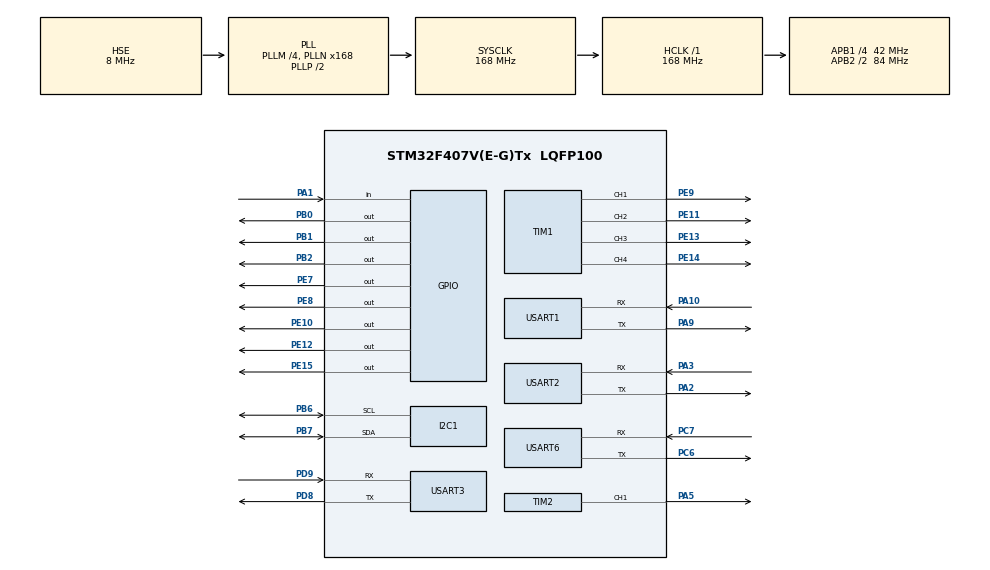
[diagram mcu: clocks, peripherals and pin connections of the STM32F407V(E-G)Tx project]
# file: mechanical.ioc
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FREERTOS.Tasks01=OLEDTask,24,128,StartOLEDTask,Default,NULL,Dynamic,NULL,NULL;queueTask,8,128,StartqueueTask,Default,NULL,Dynamic,NULL,NULL;MVTask,8,128,StartMVTask,Default,NULL,Dynamic,NULL,NULL
Mcu.Family=STM32F4
Mcu.Name=STM32F407V(E-G)Tx
Mcu.Package=LQFP100
NVIC.PriorityGroup=NVIC_PRIORITYGROUP_4
NVIC.TIM8_TRG_COM_TIM14_IRQn=true\:15\:0\:false\:false\:true\:false\:false\:true\:true
NVIC.TimeBase=TIM8_TRG_COM_TIM14_IRQn
NVIC.TimeBaseIP=TIM14
PA0-WKUP.Mode=SYS_WakeUp0
PA0-WKUP.Signal=SYS_WKUP
PA1.Signal=GPIO_Input
PA10.Mode=Asynchronous
PA10.Signal=USART1_RX
PA13.Mode=Serial_Wire
PA13.Signal=SYS_JTMS-SWDIO
PA14.Mode=Serial_Wire
PA14.Signal=SYS_JTCK-SWCLK
PA2.Mode=Asynchronous
PA2.Signal=USART2_TX
PA3.Mode=Asynchronous
PA3.Signal=USART2_RX
PA5.Signal=S_TIM2_CH1_ETR
PA9.Mode=Asynchronous
PA9.Signal=USART1_TX
PB0.Signal=GPIO_Output
PB1.Signal=GPIO_Output
PB2.Signal=GPIO_Output
PB6.GPIO_Pu=GPIO_PULLUP
PB6.Mode=I2C
PB6.Signal=I2C1_SCL
PB7.GPIO_Pu=GPIO_PULLUP
PB7.Mode=I2C
PB7.Signal=I2C1_SDA
PC6.Mode=Asynchronous
PC6.Signal=USART6_TX
PC7.Mode=Asynchronous
PC7.Signal=USART6_RX
PD8.Mode=Asynchronous
PD8.Signal=USART3_TX
PD9.Mode=Asynchronous
PD9.Signal=USART3_RX
PE10.Signal=GPIO_Output
PE11.Signal=S_TIM1_CH2
PE12.Signal=GPIO_Output
PE13.Signal=S_TIM1_CH3
PE14.Signal=S_TIM1_CH4
PE15.Signal=GPIO_Output
PE7.Signal=GPIO_Output
PE8.Signal=GPIO_Output
PE9.Signal=S_TIM1_CH1
PH0-OSC_IN.Mode=HSE-External-Oscillator
PH0-OSC_IN.Signal=RCC_OSC_IN
PH1-OSC_OUT.Mode=HSE-External-Oscillator
PH1-OSC_OUT.Signal=RCC_OSC_OUT
ProjectManager.HeapSize=0x200
ProjectManager.StackSize=0x400
ProjectManager.TargetToolchain=CMake
RCC.48MHZClocksFreq_Value=84000000
RCC.AHBFreq_Value=168000000
RCC.APB1CLKDivider=RCC_HCLK_DIV4
RCC.APB1Freq_Value=42000000
RCC.APB1TimFreq_Value=84000000
RCC.APB2CLKDivider=RCC_HCLK_DIV2
RCC.APB2Freq_Value=84000000
RCC.APB2TimFreq_Value=168000000
RCC.CortexFreq_Value=168000000
RCC.HCLKFreq_Value=168000000
RCC.HSE_VALUE=8000000
RCC.HSI_VALUE=16000000
RCC.LSE_VALUE=32768
RCC.PLLM=4
RCC.PLLN=168
RCC.PLLSourceVirtual=RCC_PLLSOURCE_HSE
RCC.SYSCLKFreq_VALUE=168000000
RCC.SYSCLKSource=RCC_SYSCLKSOURCE_PLLCLK
RCC.VCOOutputFreq_Value=336000000
SH.S_TIM1_CH1.0=TIM1_CH1,PWM Generation1 CH1
SH.S_TIM1_CH2.0=TIM1_CH2,PWM Generation2 CH2
SH.S_TIM1_CH3.0=TIM1_CH3,PWM Generation3 CH3
SH.S_TIM1_CH4.0=TIM1_CH4,PWM Generation4 CH4
SH.S_TIM2_CH1_ETR.0=TIM2_CH1,PWM Generation1 CH1
TIM1.Channel-PWM\ Generation1\ CH1=TIM_CHANNEL_1
TIM1.Channel-PWM\ Generation2\ CH2=TIM_CHANNEL_2
TIM1.Channel-PWM\ Generation3\ CH3=TIM_CHANNEL_3
TIM1.Channel-PWM\ Generation4\ CH4=TIM_CHANNEL_4
TIM2.Channel-PWM\ Generation1\ CH1=TIM_CHANNEL_1
USART1.VirtualMode=VM_ASYNC
USART2.VirtualMode=VM_ASYNC
USART3.VirtualMode=VM_ASYNC
USART6.VirtualMode=VM_ASYNC
VP_FREERTOS_VS_CMSIS_V2.Mode=CMSIS_V2
VP_SYS_VS_tim14.Mode=TIM14
VP_TIM1_VS_ClockSourceINT.Mode=Internal
board=custom

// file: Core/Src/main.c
/* USER CODE BEGIN Header */
/**
  ******************************************************************************
  * @file           : main.c
  * @brief          : Main program body
  ******************************************************************************
  * @attention
  *
  * Copyright (c) 2026 STMicroelectronics.
  * All rights reserved.
  *
  * This software is licensed under terms that can be found in the LICENSE file
  * in the root directory of this software component.
  * If no LICENSE file comes with this software, it is provided AS-IS.
  *
  ******************************************************************************
  */
/* USER CODE END Header */
#include "main.h"
#include "cmsis_os.h"
#include "i2c.h"
#include "tim.h"
#include "usart.h"
#include "gpio.h"

void SystemClock_Config(void);
void MX_FREERTOS_Init(void);

int main(void)
{

  /* MCU Configuration--------------------------------------------------------*/

  /* Reset of all peripherals, Initializes the Flash interface and the Systick. */
  HAL_Init();

  /* Configure the system clock */
  SystemClock_Config();

  /* Initialize all configured peripherals */
  MX_GPIO_Init();
  MX_I2C1_Init();
  MX_USART1_UART_Init();
  MX_TIM1_Init();
  MX_USART2_UART_Init();
  MX_USART3_UART_Init();
  MX_TIM2_Init();
  MX_USART6_UART_Init();

  /* Init scheduler */
  osKernelInitialize();  /* Call init function for freertos objects (in cmsis_os2.c) */
  MX_FREERTOS_Init();

  /* Start scheduler */
  osKernelStart();

  /* We should never get here as control is now taken by the scheduler */

  /* Infinite loop */
  while (1)
  {

  }
}

void SystemClock_Config(void)
{
  RCC_OscInitTypeDef RCC_OscInitStruct = {0};
  RCC_ClkInitTypeDef RCC_ClkInitStruct = {0};

  /** Configure the main internal regulator output voltage
  */
  __HAL_RCC_PWR_CLK_ENABLE();
  __HAL_PWR_VOLTAGESCALING_CONFIG(PWR_REGULATOR_VOLTAGE_SCALE1);

  /** Initializes the RCC Oscillators according to the specified parameters
  * in the RCC_OscInitTypeDef structure.
  */
  RCC_OscInitStruct.OscillatorType = RCC_OSCILLATORTYPE_HSE;
  RCC_OscInitStruct.HSEState = RCC_HSE_ON;
  RCC_OscInitStruct.PLL.PLLState = RCC_PLL_ON;
  RCC_OscInitStruct.PLL.PLLSource = RCC_PLLSOURCE_HSE;
  RCC_OscInitStruct.PLL.PLLM = 4;
  RCC_OscInitStruct.PLL.PLLN = 168;
  RCC_OscInitStruct.PLL.PLLP = RCC_PLLP_DIV2;
  RCC_OscInitStruct.PLL.PLLQ = 4;
  if (HAL_RCC_OscConfig(&RCC_OscInitStruct) != HAL_OK)
  {
    Error_Handler();
  }

  /** Initializes the CPU, AHB and APB buses clocks
  */
  RCC_ClkInitStruct.ClockType = RCC_CLOCKTYPE_HCLK|RCC_CLOCKTYPE_SYSCLK
                              |RCC_CLOCKTYPE_PCLK1|RCC_CLOCKTYPE_PCLK2;
  RCC_ClkInitStruct.SYSCLKSource = RCC_SYSCLKSOURCE_PLLCLK;
  RCC_ClkInitStruct.AHBCLKDivider = RCC_SYSCLK_DIV1;
  RCC_ClkInitStruct.APB1CLKDivider = RCC_HCLK_DIV4;
  RCC_ClkInitStruct.APB2CLKDivider = RCC_HCLK_DIV2;

  if (HAL_RCC_ClockConfig(&RCC_ClkInitStruct, FLASH_LATENCY_5) != HAL_OK)
  {
    Error_Handler();
  }
}

void HAL_TIM_PeriodElapsedCallback(TIM_HandleTypeDef *htim)
{
  if (htim->Instance == TIM14)
  {
    HAL_IncTick();
  }
}

void Error_Handler(void)
{
  __disable_irq();
  while (1)
  {
  }
}

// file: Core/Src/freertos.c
/* USER CODE BEGIN Header */
/**
  ******************************************************************************
  * File Name          : freertos.c
  * Description        : Code for freertos applications
  ******************************************************************************
  * @attention
  *
  * Copyright (c) 2026 STMicroelectronics.
  * All rights reserved.
  *
  * This software is licensed under terms that can be found in the LICENSE file
  * in the root directory of this software component.
  * If no LICENSE file comes with this software, it is provided AS-IS.
  *
  ******************************************************************************
  */
/* USER CODE END Header */

#include "FreeRTOS.h"
#include "task.h"
#include "main.h"
#include "cmsis_os.h"

/* USER CODE BEGIN Includes */
#include "oled.h"
#include "i2c.h"
#include "TB6612.h"
#include "Emm_V5.h"
#include "usart.h"
#include "tim.h"
#include "pipeline.h"
#include <string.h>
#include <stdio.h>
/* USER CODE END Includes */

/* USER CODE BEGIN PD */
/* 步进电机实例 (示例): 挂在 USART2 上, 总线地址 1 (拨码开关设定) */
Emm_V5_HandleTypeDef stepper1 = {
    .huart = &huart2,
    .addr  = 1,
};

/* TB6612 电机实例: AIN1=PE8, AIN2=PE10, PWM=TIM1_CH1 (PE9) */
TB6612_HandleTypeDef conveyor = {
    .AIN1_Port = GPIOE, .AIN1_Pin = GPIO_PIN_8,
    .AIN2_Port = GPIOE, .AIN2_Pin = GPIO_PIN_10,
    .htim      = &htim1,
    .Channel   = TIM_CHANNEL_1,
};
TB6612_HandleTypeDef Xcut = {
    .AIN1_Port = GPIOB, .AIN1_Pin = GPIO_PIN_0,
    .AIN2_Port = GPIOB, .AIN2_Pin = GPIO_PIN_1,
    .htim      = &htim1,
    .Channel   = TIM_CHANNEL_2,
};
TB6612_HandleTypeDef Ycut = {
    .AIN1_Port = GPIOB, .AIN1_Pin = GPIO_PIN_2,
    .AIN2_Port = GPIOB, .AIN2_Pin = GPIO_PIN_7,
    .htim      = &htim1,
    .Channel   = TIM_CHANNEL_3,
};

/* 要加更多步进电机就照上面再声明实例: 共用总线改 .addr, 换串口改 .huart */
// Emm_V5_HandleTypeDef stepper2 = { .huart = &huart2, .addr = 2 };
// Emm_V5_HandleTypeDef stepper3 = { .huart = &huart3, .addr = 1 };

/* USER CODE END PD */

/* USER CODE BEGIN Variables */
/* 红外触发计数: StartqueueTask 写, OLED 显示 */
volatile uint32_t irTriggerCount = 0;

/* 摄像头采集标志: 主线程置1, MV线程采集完清零 */
volatile uint8_t  mvCaptureFlag  = 0;
uint8_t           mvBuf[64]      = {0};  /* MV线程持续接收缓冲 */
uint8_t           mvCaptureBuf[64] = {0};/* 采集时刻快照, 主线程读这个 */

/* XY切割完成标志: 切割任务完成后置1, 主线程读后复位 */
volatile uint8_t  xyCutDone      = 0;

/* USER CODE END Variables */
/* Definitions for OLEDTask */
osThreadId_t OLEDTaskHandle;
const osThreadAttr_t OLEDTask_attributes = {
  .name = "OLEDTask",
  .stack_size = 128 * 4,
  .priority = (osPriority_t) osPriorityNormal,
};
/* Definitions for queueTask */
osThreadId_t queueTaskHandle;
const osThreadAttr_t queueTask_attributes = {
  .name = "queueTask",
  .stack_size = 128 * 4,
  .priority = (osPriority_t) osPriorityLow,
};
/* Definitions for MVTask */
osThreadId_t MVTaskHandle;
const osThreadAttr_t MVTask_attributes = {
  .name = "MVTask",
  .stack_size = 128 * 4,
  .priority = (osPriority_t) osPriorityLow,
};

void StartOLEDTask(void *argument);
void StartqueueTask(void *argument);
void StartMVTask(void *argument);

void MX_FREERTOS_Init(void); /* (MISRA C 2004 rule 8.1) */

void MX_FREERTOS_Init(void) {

  /* Create the thread(s) */
  /* creation of OLEDTask */
  OLEDTaskHandle = osThreadNew(StartOLEDTask, NULL, &OLEDTask_attributes);//OLED

  /* creation of queueTask */
  queueTaskHandle = osThreadNew(StartqueueTask, NULL, &queueTask_attributes);//总线程

  /* creation of MVTask */
  MVTaskHandle = osThreadNew(StartMVTask, NULL, &MVTask_attributes);//摄像头

}

void StartOLEDTask(void *argument)
{
  /* USER CODE BEGIN StartOLEDTask */
  /* Initialize OLED display */
  OLED_Init();

  /* Show startup message */
  OLED_Clear();

  osDelay(2000);

  /* Infinite loop - update display every 500ms */
  for(;;)
  {
    OLED_Clear();

    /* Line 0: Title */
    OLED_ShowString(0, 0, "OLED Test");

    /* Line 1: 工作时长 HH:MM:SS (补零格式 00:00:01) */
    uint32_t sec = osKernelGetTickCount() / configTICK_RATE_HZ;
    char timeStr[12];
    snprintf(timeStr, sizeof(timeStr), "%02lu:%02lu:%02lu",
             (unsigned long)(sec / 3600), (unsigned long)((sec / 60) % 60),
             (unsigned long)(sec % 60));
    OLED_ShowString(0, 16, "Time:");
    OLED_ShowString(32, 16, timeStr);

    /* Line 2: 红外中断计数 (第三行) */
    OLED_ShowString(0, 32, "IR:");
    OLED_ShowNum(24, 32, irTriggerCount, 6);

    /* Line 3: Status */
    OLED_ShowString(0, 48, "Running...");

    OLED_Display();

    osDelay(500);
  }
  /* USER CODE END StartOLEDTask */
}

void StartqueueTask(void *argument)
{
  /* USER CODE BEGIN StartqueueTask */
  TB6612_Init(&conveyor);

  for(;;)
  {
    /* 空载状态: 传送带一直转 */
    Pipeline_SetState(MOTOR_NORMAL);
    TB6612_SetSpeed(&conveyor, 20);

    /* 等红外释放, 防止同一根重复触发 */
    while (HAL_GPIO_ReadPin(GPIOA, GPIO_PIN_1) == GPIO_PIN_RESET) { osDelay(10); }

    /* 等红外触发: PA1 低有效, 轮询+30ms 消抖 */
    for(;;) {
      while (HAL_GPIO_ReadPin(GPIOA, GPIO_PIN_1) == GPIO_PIN_SET) { osDelay(10); }
      osDelay(30);
      if (HAL_GPIO_ReadPin(GPIOA, GPIO_PIN_1) == GPIO_PIN_RESET) break;
    }
    irTriggerCount++;

    /* 触发: 传送带停, 处理阶段全程保持停止 */
    TB6612_Stop(&conveyor);
    Pipeline_SetState(INFRARED_DETECTED);

    /* 1) 摄像头数据读取: MV线程采集当前数据到 mvCaptureBuf */
    Pipeline_SetState(MV_WAIT);
    mvCaptureFlag = 1;
    while (mvCaptureFlag) { osDelay(1); }

    /* 2) XY切割 (下一步写); 没完成前传送带一直停着 */
    Pipeline_SetState(XY_CUTTING);
    while (!xyCutDone) { osDelay(10); }   /* 切割完成后置 xyCutDone=1 */
    xyCutDone = 0;

    /* 全部完成 -> 回循环顶, 传送带重新转动 */
  }
  /* USER CODE END StartqueueTask */
}

void StartMVTask(void *argument)
{
  /* USER CODE BEGIN StartMVTask */
  /* MV: 常驻收摄像头串口 (USART6: TX=PC6, RX=PC7) */
  for(;;)
  {
    /* TODO: 确定摄像头帧格式和接收长度, 目前按1字节占位 */
    HAL_UART_Receive(&huart6, mvBuf, 1, 50);

    if (mvCaptureFlag) {
      memcpy(mvCaptureBuf, mvBuf, sizeof(mvCaptureBuf));
      mvCaptureFlag = 0;  /* 通知主线程: 数据已就绪 */
    }
  }
  /* USER CODE END StartMVTask */
}
